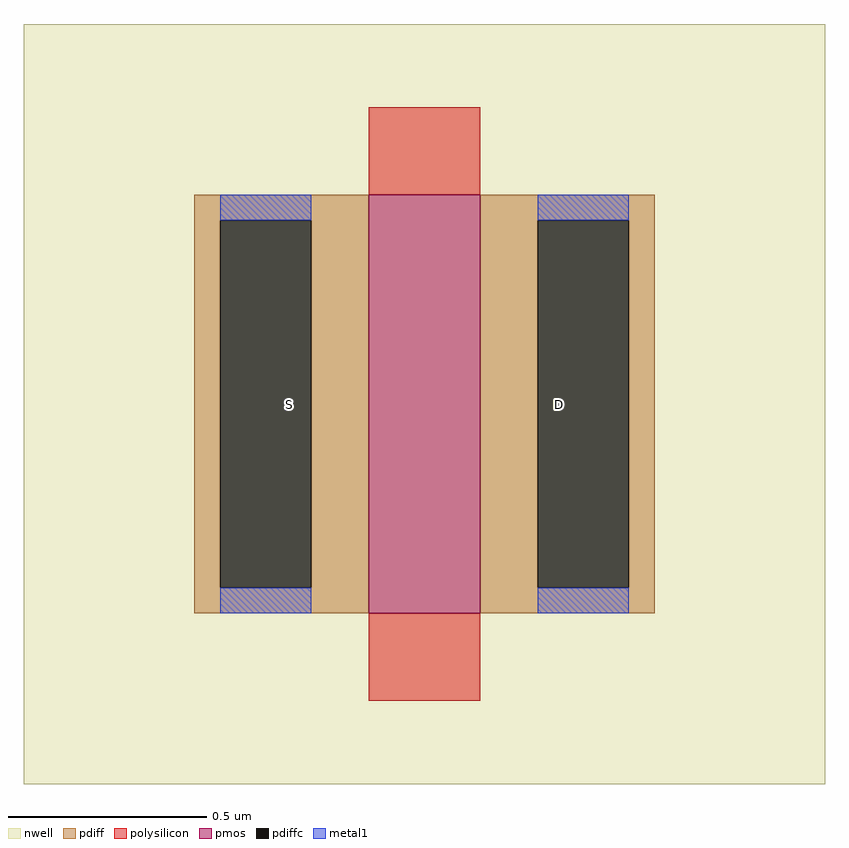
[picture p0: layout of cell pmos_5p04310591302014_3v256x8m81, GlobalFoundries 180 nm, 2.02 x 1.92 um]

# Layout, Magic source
magic
tech gf180mcuD
magscale 1 10
<< nwell >>
rect -174 -86 230 297
<< pmos >>
rect 0 0 56 211
<< pdiff >>
rect -88 198 0 211
rect -88 13 -75 198
rect -29 13 0 198
rect -88 0 0 13
rect 56 198 144 211
rect 56 13 85 198
rect 131 13 144 198
rect 56 0 144 13
<< pdiffc >>
rect -75 13 -29 198
rect 85 13 131 198
<< polysilicon >>
rect 0 211 56 255
rect 0 -44 56 0
<< metal1 >>
rect -75 198 -29 211
rect -75 0 -29 13
rect 85 198 131 211
rect 85 0 131 13
<< labels >>
flabel pdiffc -40 105 -40 105 0 FreeSans 186 0 0 0 S
flabel pdiffc 96 105 96 105 0 FreeSans 186 0 0 0 D
<< end >>
